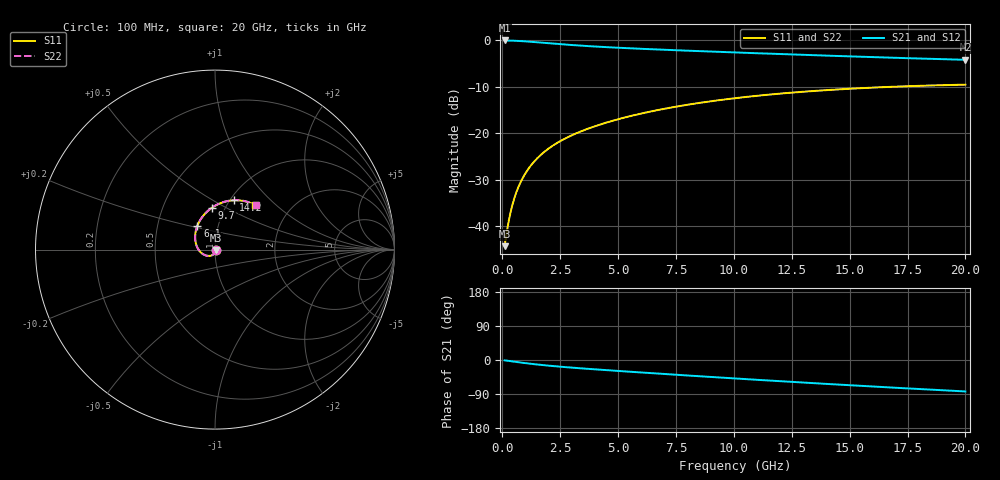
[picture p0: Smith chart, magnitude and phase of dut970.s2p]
! Touchstone file exported from HFSS 2024.1.0
!  File:  C:/UserFiles/LocalFiles/RDL_TSV_Batchsim/temp_RDL_TSV_970_1779970999.aedt
!  Generated:  08:36:25 PM May 28, 2026
!  Design:  RDL_TSV
!  Project:  temp_RDL_TSV_970_1779970999
!  Setup:  Setup1
!  Solution:  Sweep
! Variables:
!  dtsv = 9.96um
!  hbump = 3um
!  htsv = 68.8um
!  ldown = 109.45um
!  lrdl = 132.13um
!  p = 40
!  p1 = 48.11um
!  rhole = 10um
!  subl = 856.87um
!  t = 450um
!  tdown = 4.47um
!  trdl = 3.73um
!  viad = 10um
!  wdown = 12.76um
!  wrdl = 27.37um
!  xbump = 18um
# GHz S MA R 50.000000
! Terminal data exported
! Port[1] = TM1_1_T1
! Port[2] = TM1_4_T1
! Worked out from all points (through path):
!   200 points, 100 MHz to 20 GHz, reference 50 ohm
!   highest |S21| = -0.05 dB at 100 MHz (marker M1); lowest = -4.2 dB at 20 GHz (marker M2)
!   group delay of S21, straight-line fit = 10.8 ps
!   lowest |S11| = -44.2 dB at 100 MHz (marker M3), VSWR 1.01, Z = 50.5 - j0.397 ohm
!   |S11| at or under -10 dB: start of sweep to 16.8 GHz
!   |S22| runs from -44.2 to -9.5 dB; largest |S21 - S12| = 5.1e-13
!   S11 on the Smith chart (normalised r, x): 100 MHz: 1.01, -0.01; 6.1 GHz: 0.80, +0.22; 9.7 GHz: 0.87, +0.43; 14.2 GHz: 1.04, +0.62; 20 GHz: 1.35, +0.74
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0.1  0.006145 -39.8  0.9947 -0.9  0.9947 -0.9  0.006145 -39.8
! Gamma 0 0 0 0
! Port Impedance 50 0 50 0
0.2  0.008903 -62.7  0.9938 -1.8  0.9938 -1.8  0.008902 -62.7
0.3  0.01223 -76.2  0.9924 -2.6  0.9924 -2.6  0.01223 -76.2
0.4  0.01578 -85.6  0.9906 -3.5  0.9906 -3.5  0.01577 -85.6
0.5  0.01939 -93.1  0.9884 -4.3  0.9884 -4.3  0.01939 -93.1
0.6  0.02303 -99.5  0.9859 -5.2  0.9859 -5.2  0.02303 -99.5
0.8  0.03022 -110.3  0.9797 -6.8  0.9797 -6.8  0.03022 -110.3
1.1  0.04066 -124.0  0.9685 -9.1  0.9685 -9.1  0.04066 -124.0
1.5  0.05373 -139.6  0.9513 -11.9  0.9513 -11.9  0.05374 -139.6
2  0.06872 -156.4  0.929 -14.9  0.929 -14.9  0.06875 -156.4
2.7  0.0877 -175.9  0.8998 -18.7  0.8998 -18.7  0.08776 -176.0
3.5  0.1075 165.9  0.8716 -22.5  0.8716 -22.5  0.1076 165.9
4.7  0.1351 144.9  0.838 -27.6  0.838 -27.6  0.1353 144.8
6.1  0.1653 126.4  0.8072 -33.3  0.8072 -33.3  0.1656 126.3
6.8  0.1796 118.8  0.7938 -36.1  0.7938 -36.1  0.1799 118.8
8.2  0.2066 105.9  0.7692 -41.6  0.7692 -41.6  0.2071 105.9
9.7  0.2329 94.6  0.745 -47.4  0.745 -47.4  0.2334 94.6
10.1  0.2394 91.9  0.7388 -48.9  0.7388 -48.9  0.2399 91.9
13.4  0.2847 73.2  0.6916 -61.0  0.6916 -61.0  0.2853 73.2
14.2  0.2934 69.4  0.6812 -63.8  0.6812 -63.8  0.2941 69.5
16.7  0.3155 58.9  0.6508 -72.3  0.6508 -72.3  0.3163 59.0
20  0.3334 47.5  0.6165 -83.0  0.6165 -83.0  0.3343 47.5
